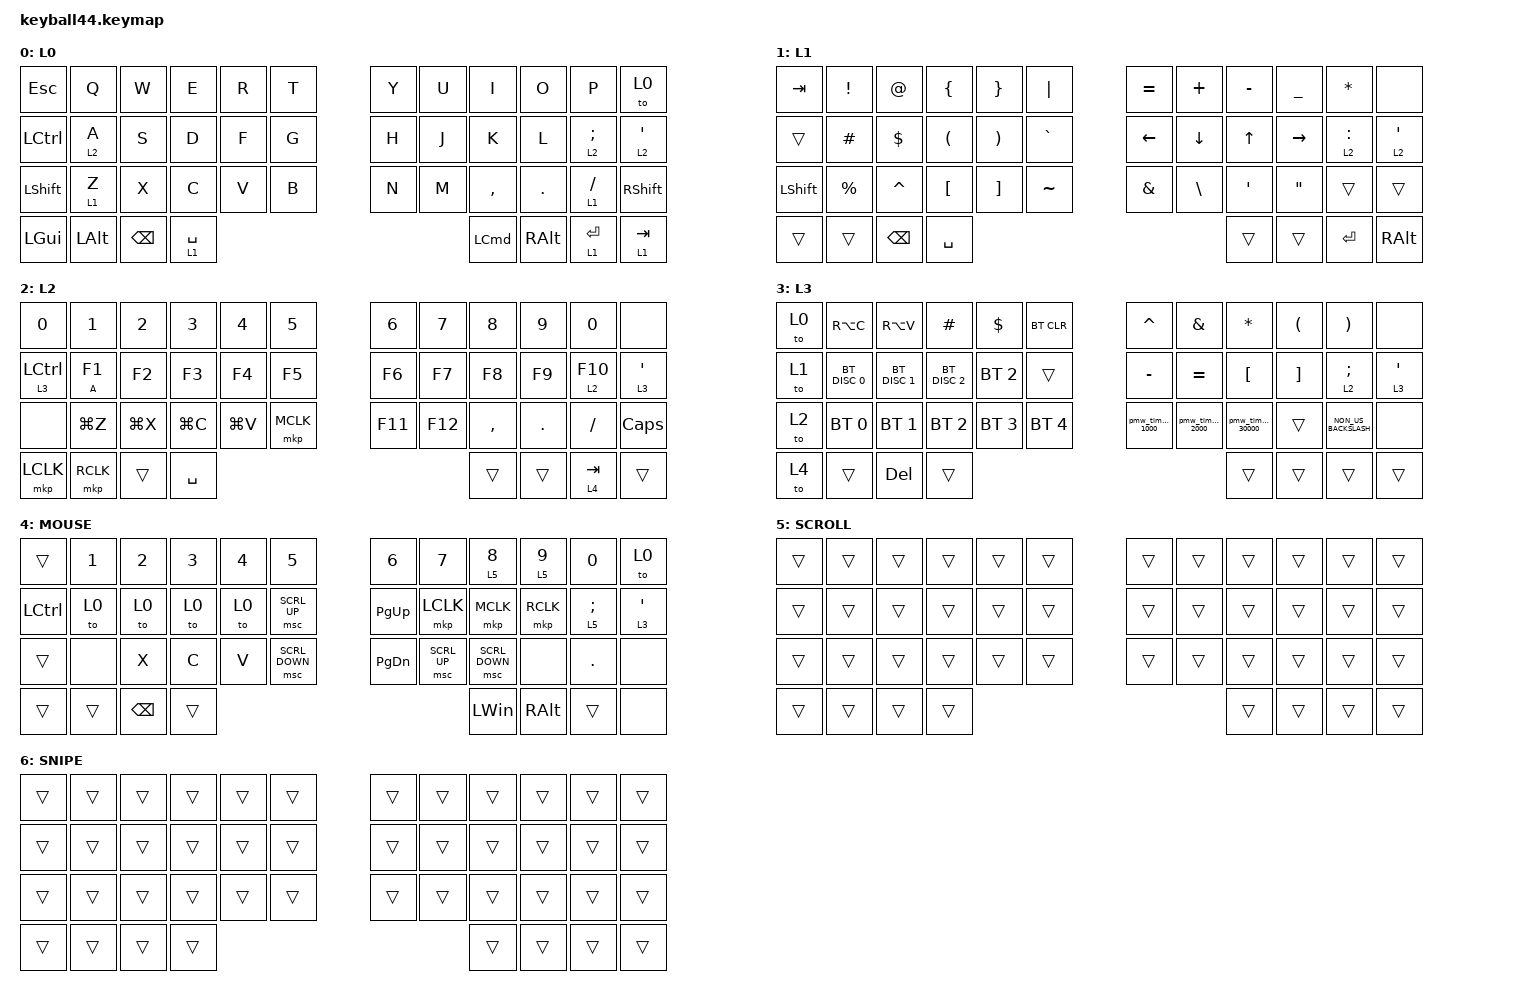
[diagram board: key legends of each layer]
#define DEFAULT 0
#define NUM     1
#define SYM     2
#define FUN     3
#define MOUSE   4
#define SCROLL  5
#define SNIPE   6

#include <behaviors/mouse_keys.dtsi>
#include <dt-bindings/zmk/mouse.h>
#include <behaviors.dtsi>
#include <dt-bindings/zmk/bt.h>
#include <dt-bindings/zmk/keys.h>
#include <dt-bindings/zmk/pointing.h>

&lt {
    tapping-term-ms = <240>;
    flavor = "balanced";
    quick-tap-ms = <150>;
};

&mt {
    tapping-term-ms = <200>;
    flavor = "tap-preferred";
    quick-tap-ms = <150>;
};

&caps_word { continue-list = <UNDERSCORE MINUS>; };

/ {
    // custom shift using mod-morph 

    behaviors {
        cmqus: comma_question {
            compatible = "zmk,behavior-mod-morph";
            label = "COMMA_QUESTION";
            #binding-cells = <0>;
            bindings = <&kp COMMA>, <&kp QUESTION>;

            mods = <(MOD_LSFT|MOD_RSFT)>;
        };

        dtsmi: dot_semi {
            compatible = "zmk,behavior-mod-morph";
            label = "DOT_SEMI";
            #binding-cells = <0>;
            bindings = <&kp DOT>, <&kp SEMI>;

            mods = <(MOD_LSFT|MOD_RSFT)>;
        };

        pmw_timeout_1000: pmw_timeout_1000 {
            compatible = "zmk,behavior-pmw-timeout";
            label = "PMW_TIMEOUT_1S";
            #binding-cells = <0>;
            timeout-ms = <1000>;
        };

        pmw_timeout_2000: pmw_timeout_2000 {
            compatible = "zmk,behavior-pmw-timeout";
            label = "PMW_TIMEOUT_2S";
            #binding-cells = <0>;
            timeout-ms = <2000>;
        };

        pmw_timeout_30000: pmw_timeout_30000 {
            compatible = "zmk,behavior-pmw-timeout";
            label = "PMW_TIMEOUT_30S";
            #binding-cells = <0>;
            timeout-ms = <30000>;
        };
    };

    keymap {
        compatible = "zmk,keymap";

        default_layer {
            label = "L0";
            bindings = <
&kp ESCAPE      &kp Q     &kp W          &kp E        &kp R             &kp T                     &kp Y        &kp U  &kp I      &kp O    &kp P        &to 0
&kp LCTRL       &lt 2 A   &kp S          &kp D        &kp F             &kp G                     &kp H        &kp J  &kp K      &kp L    &lt 2 SEMI   &lt 2 SQT
&kp LEFT_SHIFT  &lt 1 Z   &kp X          &kp C        &kp V             &kp B                     &kp N        &kp M  &kp COMMA  &kp DOT  &lt 1 SLASH  &kp RIGHT_SHIFT
&kp LGUI        &kp LALT  &kp BACKSPACE  &lt 1 SPACE  &kp LEFT_COMMAND             &kp RIGHT_ALT  &lt 1 ENTER                                          &lt 1 TAB
            >;
        };

        symbols_nav_layer {
            label = "L1";
            bindings = <
&kp TAB         &kp EXCLAMATION  &kp AT         &kp LEFT_BRACE        &kp RIGHT_BRACE        &kp PIPE               &kp EQUAL      &kp PLUS       &kp MINUS     &kp UNDERSCORE     &kp ASTERISK  &none
&trans          &kp HASH         &kp DOLLAR     &kp LEFT_PARENTHESIS  &kp RIGHT_PARENTHESIS  &kp GRAVE              &kp LEFT       &kp DOWN       &kp UP_ARROW  &kp RIGHT          &lt 2 COLON   &lt 2 SQT
&kp LEFT_SHIFT  &kp PERCENT      &kp CARET      &kp LEFT_BRACKET      &kp RIGHT_BRACKET      &kp TILDE              &kp AMPERSAND  &kp BACKSLASH  &kp SQT       &kp DOUBLE_QUOTES  &trans        &trans
&trans          &trans           &kp BACKSPACE  &kp SPACE             &trans                                &trans  &kp ENTER                                                                    &kp RIGHT_ALT
            >;
        };

        nums_shortcuts_layer {
            label = "L2";
            bindings = <
&kp NUMBER_0        &kp NUMBER_1  &kp NUMBER_2  &kp NUMBER_3  &kp NUMBER_4  &kp NUMBER_5              &kp NUMBER_6  &kp NUMBER_7  &kp NUMBER_8  &kp NUMBER_9  &kp NUMBER_0  &none
&lt 3 LEFT_CONTROL  &mt A F1      &kp F2        &kp F3        &kp F4        &kp F5                    &kp F6        &kp F7        &kp F8        &kp F9        &lt 2 F10     &lt 3 SQT
&none               &kp LG(Z)     &kp LG(X)     &kp LG(C)     &kp LG(V)     &mkp MCLK                 &kp F11       &kp F12       &kp COMMA     &kp PERIOD    &kp SLASH     &kp CAPSLOCK
&mkp LCLK           &mkp RCLK     &trans        &kp SPACE     &trans                          &trans  &lt 4 TAB                                                             &trans
            >;
        };

        extended_layer {
            label = "L3";
            bindings = <
&to 0  &kp RA(C)      &kp RA(V)      &kp HASH       &kp DOLLAR    &bt BT_CLR                &kp CARET          &kp AMPERSAND      &kp ASTERISK        &kp LEFT_PARENTHESIS  &kp RIGHT_PARENTHESIS  &none
&to 1  &bt BT_DISC 0  &bt BT_DISC 1  &bt BT_DISC 2  &bt BT_SEL 2  &trans                    &kp MINUS          &kp EQUAL          &kp LEFT_BRACKET    &kp RIGHT_BRACKET     &lt 2 SEMICOLON        &lt 3 SQT
&to 2  &bt BT_SEL 0   &bt BT_SEL 1   &bt BT_SEL 2   &bt BT_SEL 3  &bt BT_SEL 4              &pmw_timeout_1000  &pmw_timeout_2000  &pmw_timeout_30000  &trans                &kp NON_US_BACKSLASH   &none
&to 4  &trans         &kp DELETE     &trans         &trans                          &trans  &trans                                                                                                 &trans
            >;
        };

        mouse_layer {
            label = "MOUSE";
            bindings = <
&trans            &kp N1  &kp N2         &kp N3  &kp N4        &kp N5                             &kp N6         &kp N7        &lt 5 NUMBER_8  &lt 5 NUMBER_9  &kp N0           &to 0
&kp LEFT_CONTROL  &to 0   &to 0          &to 0   &to 0         &msc SCRL_UP                       &kp PAGE_UP    &mkp LCLK     &mkp MCLK       &mkp RCLK       &lt 5 SEMICOLON  &lt 3 SQT
&trans            &none   &kp X          &kp C   &kp V         &msc SCRL_DOWN                     &kp PAGE_DOWN  &msc SCRL_UP  &msc SCRL_DOWN  &none           &kp PERIOD       &none
&trans            &trans  &kp BACKSPACE  &trans  &kp LEFT_WIN                      &kp RIGHT_ALT  &trans                                                                        &none
            >;
        };

        scroll_layer {
            label = "SCROLL";
            bindings = <
&trans  &trans  &trans  &trans  &trans  &trans              &trans  &trans  &trans  &trans  &trans  &trans
&trans  &trans  &trans  &trans  &trans  &trans              &trans  &trans  &trans  &trans  &trans  &trans
&trans  &trans  &trans  &trans  &trans  &trans              &trans  &trans  &trans  &trans  &trans  &trans
&trans  &trans  &trans  &trans  &trans              &trans  &trans                                  &trans
            >;
        };

        snipe_layer {
            label = "SNIPE";
            bindings = <
&trans  &trans  &trans  &trans  &trans  &trans              &trans  &trans  &trans  &trans  &trans  &trans
&trans  &trans  &trans  &trans  &trans  &trans              &trans  &trans  &trans  &trans  &trans  &trans
&trans  &trans  &trans  &trans  &trans  &trans              &trans  &trans  &trans  &trans  &trans  &trans
&trans  &trans  &trans  &trans  &trans              &trans  &trans                                  &trans
            >;
        };
    };
};
